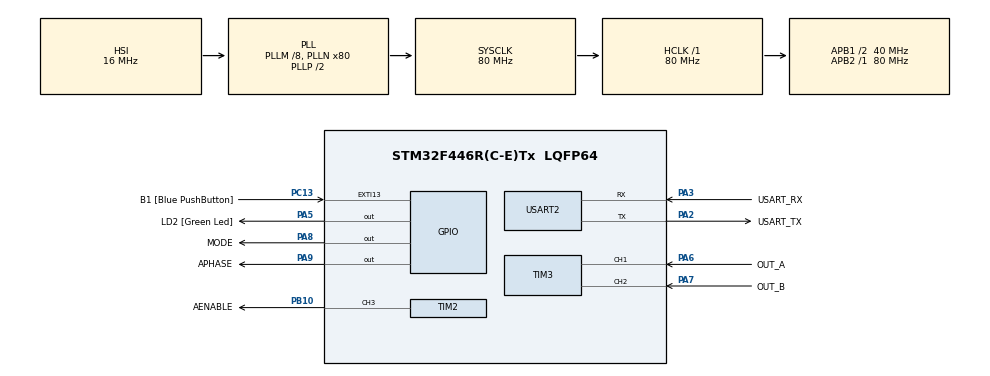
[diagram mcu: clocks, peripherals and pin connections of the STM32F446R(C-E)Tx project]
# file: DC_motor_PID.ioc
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Mcu.Family=STM32F4
Mcu.Name=STM32F446R(C-E)Tx
Mcu.Package=LQFP64
NVIC.EXTI15_10_IRQn=true\:0\:0\:false\:false\:true\:true\:true\:true
NVIC.PriorityGroup=NVIC_PRIORITYGROUP_0
NVIC.TIM6_DAC_IRQn=true\:0\:0\:true\:false\:true\:true\:true\:true
NVIC.USART2_IRQn=true\:0\:0\:false\:false\:true\:true\:true\:true
PA13.GPIO_Label=TMS
PA13.Mode=Serial_Wire
PA13.Signal=SYS_JTMS-SWDIO
PA14.GPIO_Label=TCK
PA14.Mode=Serial_Wire
PA14.Signal=SYS_JTCK-SWCLK
PA2.GPIO_Label=USART_TX
PA2.Mode=Asynchronous
PA2.Signal=USART2_TX
PA3.GPIO_Label=USART_RX
PA3.Mode=Asynchronous
PA3.Signal=USART2_RX
PA5.GPIO_Label=LD2 [Green Led]
PA5.Signal=GPIO_Output
PA6.GPIO_Label=OUT_A
PA6.Signal=S_TIM3_CH1
PA7.GPIO_Label=OUT_B
PA7.Signal=S_TIM3_CH2
PA8.GPIO_Label=MODE
PA8.Signal=GPIO_Output
PA9.GPIO_Label=APHASE
PA9.Signal=GPIO_Output
PB10.GPIO_Label=AENABLE
PB10.Signal=S_TIM2_CH3
PB3.GPIO_Label=SWO
PB3.Signal=SYS_JTDO-SWO
PC13.GPIO_Label=B1 [Blue PushButton]
PC13.GPIO_ModeDefaultEXTI=GPIO_MODE_IT_FALLING
PC13.Signal=GPXTI13
PC14-OSC32_IN.Mode=LSE-External-Oscillator
PC14-OSC32_IN.Signal=RCC_OSC32_IN
PC15-OSC32_OUT.Mode=LSE-External-Oscillator
PC15-OSC32_OUT.Signal=RCC_OSC32_OUT
PH0-OSC_IN.Mode=HSE-External-Oscillator
PH0-OSC_IN.Signal=RCC_OSC_IN
PH1-OSC_OUT.Mode=HSE-External-Oscillator
PH1-OSC_OUT.Signal=RCC_OSC_OUT
ProjectManager.HeapSize=0x200
ProjectManager.StackSize=0x400
ProjectManager.TargetToolchain=STM32CubeIDE
RCC.48MHZClocksFreq_Value=84000000
RCC.AHBFreq_Value=80000000
RCC.APB1CLKDivider=RCC_HCLK_DIV2
RCC.APB1Freq_Value=40000000
RCC.APB1TimFreq_Value=80000000
RCC.APB2Freq_Value=80000000
RCC.APB2TimFreq_Value=80000000
RCC.CortexFreq_Value=80000000
RCC.FLatency-AdvancedSettings=FLASH_LATENCY_2
RCC.HCLKFreq_Value=80000000
RCC.HSE_VALUE=8000000
RCC.HSI_VALUE=16000000
RCC.PLLM=8
RCC.PLLN=80
RCC.SYSCLKFreq_VALUE=80000000
RCC.SYSCLKSource=RCC_SYSCLKSOURCE_PLLCLK
RCC.USBFreq_Value=80000000
RCC.VCOOutputFreq_Value=160000000
SH.S_TIM2_CH3.0=TIM2_CH3,PWM Generation3 CH3
SH.S_TIM3_CH1.0=TIM3_CH1,Encoder_Interface
SH.S_TIM3_CH2.0=TIM3_CH2,Encoder_Interface
TIM2.Channel-PWM\ Generation3\ CH3=TIM_CHANNEL_3
TIM2.Period=1000-1
TIM2.Prescaler=4-1
TIM3.EncoderMode=TIM_ENCODERMODE_TI12
TIM3.IC1Filter=\ 15
TIM3.IC2Filter=15
TIM6.Period=1000-1
TIM6.Prescaler=8000-1
USART2.VirtualMode=VM_ASYNC
VP_TIM6_VS_ClockSourceINT.Mode=Enable_Timer
board=NUCLEO-F446RE

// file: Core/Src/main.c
/* USER CODE BEGIN Header */
/**
 ******************************************************************************
 * @file           : main.c
 * @brief          : Main program body
 ******************************************************************************
 * @attention
 *
 * Copyright (c) 2025 STMicroelectronics.
 * All rights reserved.
 *
 * This software is licensed under terms that can be found in the LICENSE file
 * in the root directory of this software component.
 * If no LICENSE file comes with this software, it is provided AS-IS.
 *
 ******************************************************************************
 */
/* USER CODE END Header */
#include "main.h"
#include "tim.h"
#include "usart.h"
#include "gpio.h"

/* USER CODE BEGIN Includes */
#include <stdlib.h>
#include <stdio.h>
#include <string.h>
#include <stdbool.h>

/* USER CODE END Includes */

/* USER CODE BEGIN PTD */
uint8_t rx_buffer[2]; // Bufor odbiorczy (do przechowywania danych jako ciąg znaków)
uint8_t uart_tx_buffer[50];
int received_value = 40; // Przechowuje odebraną liczbę całkowitą
int last_value = 0;
bool mode = 0;
/* USER CODE END PTD */

void SystemClock_Config(void);

/* USER CODE BEGIN 0 */
motor_str motorA;
/* USER CODE END 0 */

int main(void) {

	/* MCU Configuration--------------------------------------------------------*/

	/* Reset of all peripherals, Initializes the Flash interface and the Systick. */
	HAL_Init();

	/* Configure the system clock */
	SystemClock_Config();

	/* Initialize all configured peripherals */
	MX_GPIO_Init();
	MX_USART2_UART_Init();
	MX_TIM2_Init();
	MX_TIM3_Init();
	MX_TIM6_Init();
	/* USER CODE BEGIN 2 */
	drv8835_init();
	motor_str_init(&motorA, &htim3);
	pid_init(&(motorA.pid_controller), MOTOR_A_Kp, MOTOR_A_Ki, MOTOR_A_Kd,
	MOTOR_A_ANTI_WINDUP);

	HAL_TIM_Encoder_Start(&htim3, TIM_CHANNEL_ALL);
	HAL_TIM_Base_Start_IT(&htim6);
	HAL_UART_Receive_IT(&huart2, rx_buffer, sizeof(rx_buffer));

	int speed_table[] = { 20, 40, -40, 10 };
	int i = 0;
	uint32_t time_tick = HAL_GetTick();
	uint32_t max_time = 4000;

	/* USER CODE END 2 */

	/* Infinite loop */
	/* USER CODE BEGIN WHILE */
	while (1) {

		if (!mode) {
			if (received_value != last_value) {
				last_value = received_value; // Update last_value

				// Print the new value via UART
				char msg[30];
				int len = snprintf(msg, sizeof(msg), "Received: %d\r\n",
						received_value);
				HAL_UART_Transmit_IT(&huart2, (uint8_t*) msg, len);
			}

			if ((HAL_GetTick() - time_tick) > 100) {
				motor_set_speed(&motorA, received_value);
				time_tick = HAL_GetTick();
			}
		} else {
			if ((HAL_GetTick() - time_tick) > max_time) {
				time_tick = HAL_GetTick();

				motor_set_speed(&motorA, speed_table[i++]);

				if (i >= 4)
					i = 0;
			}
		}
//

		/* USER CODE END WHILE */

	}
}

void SystemClock_Config(void) {
	RCC_OscInitTypeDef RCC_OscInitStruct = { 0 };
	RCC_ClkInitTypeDef RCC_ClkInitStruct = { 0 };

	/** Configure the main internal regulator output voltage
	 */
	__HAL_RCC_PWR_CLK_ENABLE();
	__HAL_PWR_VOLTAGESCALING_CONFIG(PWR_REGULATOR_VOLTAGE_SCALE3);

	/** Initializes the RCC Oscillators according to the specified parameters
	 * in the RCC_OscInitTypeDef structure.
	 */
	RCC_OscInitStruct.OscillatorType = RCC_OSCILLATORTYPE_HSI;
	RCC_OscInitStruct.HSIState = RCC_HSI_ON;
	RCC_OscInitStruct.HSICalibrationValue = RCC_HSICALIBRATION_DEFAULT;
	RCC_OscInitStruct.PLL.PLLState = RCC_PLL_ON;
	RCC_OscInitStruct.PLL.PLLSource = RCC_PLLSOURCE_HSI;
	RCC_OscInitStruct.PLL.PLLM = 8;
	RCC_OscInitStruct.PLL.PLLN = 80;
	RCC_OscInitStruct.PLL.PLLP = RCC_PLLP_DIV2;
	RCC_OscInitStruct.PLL.PLLQ = 2;
	RCC_OscInitStruct.PLL.PLLR = 2;
	if (HAL_RCC_OscConfig(&RCC_OscInitStruct) != HAL_OK) {
		Error_Handler();
	}

	/** Initializes the CPU, AHB and APB buses clocks
	 */
	RCC_ClkInitStruct.ClockType = RCC_CLOCKTYPE_HCLK | RCC_CLOCKTYPE_SYSCLK
			| RCC_CLOCKTYPE_PCLK1 | RCC_CLOCKTYPE_PCLK2;
	RCC_ClkInitStruct.SYSCLKSource = RCC_SYSCLKSOURCE_PLLCLK;
	RCC_ClkInitStruct.AHBCLKDivider = RCC_SYSCLK_DIV1;
	RCC_ClkInitStruct.APB1CLKDivider = RCC_HCLK_DIV2;
	RCC_ClkInitStruct.APB2CLKDivider = RCC_HCLK_DIV1;

	if (HAL_RCC_ClockConfig(&RCC_ClkInitStruct, FLASH_LATENCY_2) != HAL_OK) {
		Error_Handler();
	}
}

/* USER CODE BEGIN 4 */
void HAL_TIM_PeriodElapsedCallback(TIM_HandleTypeDef *htim) {
	if (htim->Instance == TIM6) {
		motor_calculate_speed(&motorA);

		// Format the message to send motorA.measured_speed
		snprintf((char*) uart_tx_buffer, sizeof(uart_tx_buffer),
				"Speed: %d\r\n", motorA.measured_speed);

		// Transmit the message via UART using interrupts
		HAL_UART_Transmit_IT(&huart2, uart_tx_buffer,
				strlen((char*) uart_tx_buffer));

	}
}
// Handle UART interrupt callback
void HAL_UART_RxCpltCallback(UART_HandleTypeDef *huart) {
	if (huart->Instance == USART2) {
		uart_ready = true;
		int value;
		if (sscanf((char*) rx_buffer, "%d", &value) == 1) {
			if (value >= 0 && value <= 42) {
				received_value = value; // Save the valid value
			}
		}

		// Re-enable UART reception interrupt
		HAL_UART_Receive_IT(&huart2, rx_buffer, sizeof(rx_buffer));
	}
}
void HAL_GPIO_EXTI_Callback(uint16_t GPIO_Pin) {
	if (GPIO_Pin == B1_Pin) { // Check if the interrupt is from the button
		mode = !mode;            // Toggle the mode variable
	}
}

/* USER CODE END 4 */

void Error_Handler(void) {
	__disable_irq();
	while (1) {
	}
}
